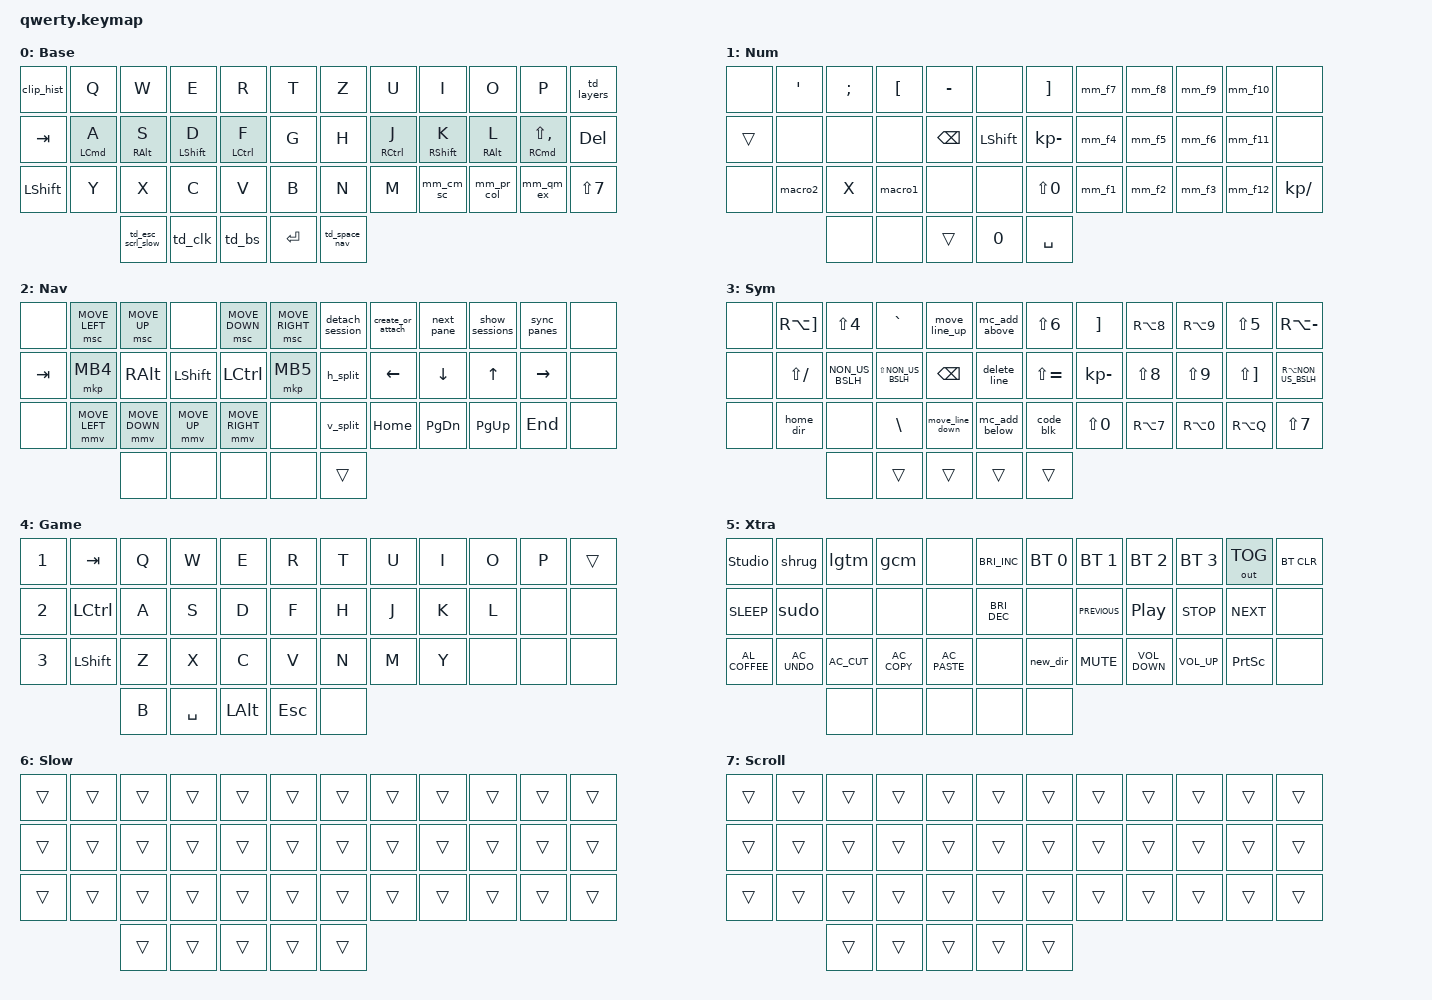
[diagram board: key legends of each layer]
#include "qwerty-includes.dtsi"

/ {
    behaviors {
        // ht_num_func: homerow_mod {
        //     compatible = "zmk,behavior-hold-tap";
        //     #binding-cells = <2>;
        //     flavor = "tap-preferred";
        //     tapping-term-ms = <260>; // triggers the hold behavior when the tapping-term-ms has expired
        //     quick-tap-ms = <220>; // If you press a tapped hold-tap again within quick-tap-ms milliseconds of the first press, it will always trigger the tap behavior.
        //     require-prior-idle-ms = <185>; // like quick-tap-ms however it will apply for any non-modifier key pressed before it
        //     bindings = <&kp>, <&kp>;  // hold, tap
        // };

        mm_f1: num_or_f1 {
            compatible    = "zmk,behavior-mod-morph";
            #binding-cells = <0>;
            bindings      = <&kp N1>, <&kp F1>;
            mods          = <MOD_LSFT>;
        };

        mm_f2: num_or_f2 {
            compatible    = "zmk,behavior-mod-morph";
            #binding-cells = <0>;
            bindings      = <&kp N2>, <&kp F2>;
            mods          = <MOD_LSFT>;
        };

        mm_f3: num_or_f3 {
            compatible    = "zmk,behavior-mod-morph";
            #binding-cells = <0>;
            bindings      = <&kp N3>, <&kp F3>;
            mods          = <MOD_LSFT>;
        };

        mm_f4: num_or_f4 {
            compatible    = "zmk,behavior-mod-morph";
            #binding-cells = <0>;
            bindings      = <&kp N4>, <&kp F4>;
            mods          = <MOD_LSFT>;
        };

        mm_f5: num_or_f5 {
            compatible    = "zmk,behavior-mod-morph";
            #binding-cells = <0>;
            bindings      = <&kp N5>, <&kp F5>;
            mods          = <MOD_LSFT>;
        };

        mm_f6: num_or_f6 {
            compatible    = "zmk,behavior-mod-morph";
            #binding-cells = <0>;
            bindings      = <&kp N6>, <&kp F6>;
            mods          = <MOD_LSFT>;
        };

        mm_f7: num_or_f7 {
            compatible    = "zmk,behavior-mod-morph";
            #binding-cells = <0>;
            bindings      = <&kp N7>, <&kp F7>;
            mods          = <MOD_LSFT>;
        };

        mm_f8: num_or_f8 {
            compatible    = "zmk,behavior-mod-morph";
            #binding-cells = <0>;
            bindings      = <&kp N8>, <&kp F8>;
            mods          = <MOD_LSFT>;
        };

        mm_f9: num_or_f9 {
            compatible    = "zmk,behavior-mod-morph";
            #binding-cells = <0>;
            bindings      = <&kp N9>, <&kp F9>;
            mods          = <MOD_LSFT>;
        };

        mm_f10: pct_or_f10 {
            compatible    = "zmk,behavior-mod-morph";
            #binding-cells = <0>;
            bindings      = <&kp LS(N5)>, <&kp F10>;
            mods          = <MOD_LSFT>;
        };

        mm_f11: asterisk_or_f11 {
            compatible    = "zmk,behavior-mod-morph";
            #binding-cells = <0>;
            bindings      = <&kp LS(RBKT)>, <&kp F11>;
            mods          = <MOD_LSFT>;
        };

        mm_f12: dot_or_f12 {
            compatible    = "zmk,behavior-mod-morph";
            #binding-cells = <0>;
            bindings      = <&kp DOT>, <&kp F12>;
            mods          = <MOD_LSFT>;
        };

        // Left-hand HRM
        ht_left: left_side_homerow_mod {
            compatible = "zmk,behavior-hold-tap";
            #binding-cells = <2>;
            flavor = "balanced";
            tapping-term-ms = <280>;
            quick-tap-ms = <160>;
            require-prior-idle-ms = <65>;
            retro-tap;
            bindings = <&kp>, <&kp>;
            hold-trigger-key-positions = <6 7 8 9 10 11 18 19 20 21 22 23 30 31 32 33 34 35 39 40 16 15 14 13 36 37 38 39 40>;
        };

        // Right-hand HRM
        ht_right: right_side_homerow_mod {
            compatible = "zmk,behavior-hold-tap";
            #binding-cells = <2>;
            flavor = "balanced";
            tapping-term-ms = <280>;
            quick-tap-ms = <160>;
            require-prior-idle-ms = <55>;
            retro-tap;
            bindings = <&kp>, <&kp>;
            hold-trigger-key-positions = <0 1 2 3 4 5 12 13 14 15 16 17 24 25 26 27 28 29 36 37 38 19 20 21 22 36 37 38 39 40>;
        };

        td_esc_scrl_slow: td_esc_scrl_slow {
            compatible = "zmk,behavior-tap-dance";
            #binding-cells = <0>;
            tapping-term-ms = <150>;
            bindings = <&lt 7 ESC>, <&mo 6>; // hold, tap, double_tap
        };

        lt_nav: nav_layer_tap {
            compatible = "zmk,behavior-hold-tap";
            #binding-cells = <2>;
            flavor = "tap-preferred";
            tapping-term-ms = <170>;
            bindings = <&mo>, <&kp>;
        };

        td_space_nav: td_space {
            compatible = "zmk,behavior-tap-dance";
            #binding-cells = <0>;
            tapping-term-ms = <110>;
            bindings = <&lt_nav 2 SPACE>, <&kp SPACE>; // hold, tap, double_tap
        };

        mo_clk: mo_click {
            compatible = "zmk,behavior-hold-tap";
            #binding-cells = <2>;
            flavor = "hold-preferred";
            tapping-term-ms = <40>;
            hold-while-undecided;
            bindings = <&mo>, <&mkp>;
        };

        td_clk: td_clk {
            compatible = "zmk,behavior-tap-dance";
            #binding-cells = <0>;
            tapping-term-ms = <170>;
            bindings = <&mo_clk 3 LCLK>, <&mkp LCLK>; // hold, tap, double_tap
        };

        mo_kp: mo_kp {
            compatible = "zmk,behavior-hold-tap";
            #binding-cells = <2>;
            flavor       = "hold-preferred";
            tapping-term-ms = <40>;
            hold-while-undecided;
            bindings = <&mo>, <&kp>;
        };

        td_bs: td_bs {
            compatible = "zmk,behavior-tap-dance";
            #binding-cells = <0>;
            tapping-term-ms = <170>;
            bindings = <&mo_kp 1 BACKSPACE>, <&kp BACKSPACE>; // hold, tap, double_tap
        };

        httl: ht_two_layers {
            compatible = "zmk,behavior-hold-tap";
            bindings = <&mo>, <&to>;
            #binding-cells = <2>;
            flavor = "balanced";
            tapping-term-ms = <125>;
        };

        td_layers: td_layer_swap {
            compatible = "zmk,behavior-tap-dance";
            #binding-cells = <0>;
            bindings = <&to 0>, <&to 4>; // tap, double_tap
        };

        td_clk_scrl: td_click_or_scroll {
            compatible = "zmk,behavior-tap-dance";
            #binding-cells = <0>;
            tapping-term-ms = <250>;
            bindings = <&mkp RCLK>, <&mo 8>;  // tap/hold, double_tap
        };

        td_bore: BASE_or_EXTRA {
            compatible = "zmk,behavior-tap-dance";
            #binding-cells = <0>;
            bindings = <&mo 5>, <&to 0>;
        };

        mm_qm_ex: question_exclamation {
            compatible    = "zmk,behavior-mod-morph";
            #binding-cells = <0>;
            bindings      = <&kp LS(MINUS)>, <&kp LS(N1)>;
            mods          = <(MOD_LSFT | MOD_RSFT)>;
        };

        mm_pr_col: period_colon {
            compatible    = "zmk,behavior-mod-morph";
            #binding-cells = <0>;
            bindings      = <&kp PERIOD>, <&kp LS(PERIOD)>;
            mods          = <(MOD_LSFT | MOD_RSFT)>;
        };

        mm_cm_sc: comma_semi_colon {
            compatible    = "zmk,behavior-mod-morph";
            #binding-cells = <0>;
            bindings      = <&kp COMMA>, <&kp LS(COMMA)>;
            mods          = <(MOD_LSFT | MOD_RSFT)>;
        };
    };

    macros {
        v_split: v_split {
            compatible = "zmk,behavior-macro";
            #binding-cells = <0>;
            bindings = <&macro_tap &kp LC(B) &kp LS(N5)>;
        };

        h_split: h_split {
            compatible = "zmk,behavior-macro";
            #binding-cells = <0>;
            bindings = <&macro_tap &kp LC(B) &kp LS(N2)>;
        };

        detach_session: detach_session {
            compatible = "zmk,behavior-macro";
            #binding-cells = <0>;
            bindings = <&kp LC(B) &kp D>;
        };

        sync_panes: sync_panes {
            compatible = "zmk,behavior-macro";
            #binding-cells = <0>;
            bindings = <&kp LC(B) &kp SPACE>;
        };

        next_pane: next_pane {
            compatible = "zmk,behavior-macro";
            #binding-cells = <0>;
            bindings = <&kp LC(B) &kp O>;
        };

        show_sessions: show_sessions {
            compatible = "zmk,behavior-macro";
            #binding-cells = <0>;
            bindings = <&kp LC(B) &kp S>;
        };

        create_or_attach: create_or_attach {
            compatible = "zmk,behavior-macro";
            #binding-cells = <0>;
            bindings
                = <&macro_tap &kp T>
                , <&macro_tap &kp M>
                , <&macro_tap &kp U>
                , <&macro_tap &kp X>
                , <&macro_tap &kp SPC>
                , <&macro_tap &kp N>
                , <&macro_tap &kp E>
                , <&macro_tap &kp W>
                , <&macro_tap &kp FSLH>
                , <&macro_tap &kp S>
                , <&macro_tap &kp E>
                , <&macro_tap &kp S>
                , <&macro_tap &kp S>
                , <&macro_tap &kp I>
                , <&macro_tap &kp O>
                , <&macro_tap &kp N>
                , <&macro_tap &kp SPC>
                , <&macro_tap &kp FSLH>
                , <&macro_tap &kp A>
                , <&macro_tap &kp SPC>
                , <&macro_tap &kp FSLH>
                , <&macro_tap &kp S>
                , <&macro_tap &kp SPC>
            ;
        };

        shrug: shrug { // shrug emoji ¯\_(ツ)_/¯
            compatible = "zmk,behavior-macro";
            #binding-cells = <0>;
            wait-ms = <10>;
            tap-ms = <20>;
            bindings
                // ¯ (Macros)
                = <&macro_press &kp LCTRL &kp LSHFT>
                , <&macro_tap &kp U>
                , <&macro_release &kp LCTRL &kp LSHFT>
                , <&macro_tap &kp N0 &kp N0 &kp A &kp F &kp SPC>
                // \
                , <&macro_tap &kp RA(MINUS)>
                , <&macro_tap &kp RA(MINUS)>
                // _
                , <&macro_tap &kp LS(FSLH)>
                // (
                , <&macro_tap &kp LPAR>
                // ツ (Katakana Letter Tu)
                , <&macro_press &kp LCTRL &kp LSHFT>
                , <&macro_tap &kp U>
                , <&macro_release &kp LCTRL &kp LSHFT>
                , <&macro_tap &kp N3 &kp N0 &kp C &kp N4 &kp SPC>
                // )
                , <&macro_tap &kp RPAR>
                // _
                , <&macro_tap &kp LS(FSLH)>
                // /
                , <&macro_tap &kp LS(N7)>
                // ¯ (Macron)
                , <&macro_press &kp LCTRL &kp LSHFT>
                , <&macro_tap &kp U>
                , <&macro_release &kp LCTRL &kp LSHFT>
                , <&macro_tap &kp N0 &kp N0 &kp A &kp F &kp SPC>
                ;
        };

        gcm: gcm { // git commit WIP
            compatible = "zmk,behavior-macro";
            #binding-cells = <0>;
            wait-ms = <10>;
            tap-ms = <20>;
            bindings = <
                &macro_tap &kp G &kp I &kp T &kp SPACE
                &kp C &kp O &kp M &kp M &kp I &kp T &kp SPACE
                &kp FSLH &kp A &kp M &kp SPACE
                &kp LS(N2) &kp LS(W) &kp LS(I) &kp LS(P) &kp LS(N2)
            >;
        };

        lgtm: lgtm { // LGTM Approval
            compatible = "zmk,behavior-macro";
            #binding-cells = <0>;
            wait-ms = <10>;
            tap-ms = <20>;
            bindings = <
                &macro_tap
                &kp LS(L) &kp LS(G) &kp LS(T) &kp LS(M)
                &kp SPACE &kp FSLH &kp SPACE
                &kp LS(A) &kp P &kp P &kp R &kp O &kp V &kp E &kp D &kp LS(N1)
            >;
        };

        sudo: sudo { // SUDO_BANG_BANG
            compatible = "zmk,behavior-macro";
            #binding-cells = <0>;
            wait-ms = <10>;
            tap-ms = <20>;
            bindings
                = <&macro_tap &kp S &kp U &kp D &kp O>  // "sudo"
                , <&macro_tap &kp SPACE>                // space
                , <&macro_tap &kp LS(N1) &kp LS(N1)>    // "!!"
                , <&macro_tap &kp RET>                  // Enter key
                ;
        };
        
        clip_hist: clip_hist { // CLIPBOARD_HISTORY
            compatible = "zmk,behavior-macro";
            #binding-cells = <0>;
            bindings 
                = <&macro_press &kp LGUI>
                , <&macro_tap &kp V>
                , <&macro_release &kp LGUI>
                ;
        };
        
        new_dir: new_dir {
            compatible = "zmk,behavior-macro";
            #binding-cells = <0>;
            bindings
                = <&macro_press &kp LCTRL &kp LSHFT>
                , <&macro_tap &kp N>
                , <&macro_release &kp LCTRL &kp LSHFT>
                ;
        };

        mc_add_above: multicursor_add_above {
            compatible = "zmk,behavior-macro";
            #binding-cells = <0>;
            bindings
                = <&macro_press &kp LCTRL &kp LALT>
                , <&macro_tap &kp UP>
                , <&macro_release &kp LCTRL &kp LALT>
                ;
        };

        mc_add_below: multicursor_add_below {
            compatible = "zmk,behavior-macro";
            #binding-cells = <0>;
            bindings
                = <&macro_press &kp LCTRL &kp LALT>
                , <&macro_tap &kp DOWN>
                , <&macro_release &kp LCTRL &kp LALT>
                ;
        };

        delete_line: delete_line {
            compatible = "zmk,behavior-macro";
            #binding-cells = <0>;
            bindings
                = <&macro_press &kp LCTRL &kp LSHFT>
                , <&macro_tap &kp K>
                , <&macro_release &kp LCTRL &kp LSHFT>
                ;
        };

        move_line_up: move_line_up {
            compatible = "zmk,behavior-macro";
            #binding-cells = <0>;
            bindings
                = <&macro_press &kp LALT>
                , <&macro_tap &kp UP>
                , <&macro_release &kp LALT>
                ;
        };

        move_line_down: move_line_down {
            compatible = "zmk,behavior-macro";
            #binding-cells = <0>;
            bindings
                = <&macro_press &kp LALT>
                , <&macro_tap &kp DOWN>
                , <&macro_release &kp LALT>
                ;
        };

        code_blk: code_blk {
            compatible = "zmk,behavior-macro";
            #binding-cells = <0>;
            bindings
                = <&macro_tap &kp LS(EQUAL)>
                , <&macro_tap &kp LS(EQUAL)>
                , <&macro_tap &kp LS(EQUAL)>
                ;
        };
        
        home_dir: home_dir {
            compatible = "zmk,behavior-macro";
            #binding-cells = <0>;
            bindings
                = <&macro_tap &kp RA(RBKT)>
                , <&macro_tap &kp LS(N7)>
                ;
        };

        macro1: macro1 {
            compatible = "zmk,behavior-macro";
            #binding-cells = <0>;

            // bisschen mehr Luft für Citrix
            // wait-ms = <10>;
            // tap-ms  = <10>;

            bindings
                // "$" = Shift + N4  (statt &kp DLLR)
                = <&macro_press &kp LSHFT>
                , <&macro_tap &kp N4>
                , <&macro_tap &kp T>      // T
                , <&macro_release &kp LSHFT>
                , <&macro_tap &kp A>
                , <&macro_tap &kp R>
                , <&macro_tap &kp T>
                , <&macro_tap &kp N1>
                , <&macro_tap &kp N9>
                , <&macro_tap &kp N7>
                , <&macro_tap &kp N6>
                , <&macro_press &kp LSHFT>
                , <&macro_tap &kp N1>
                , <&macro_release &kp LSHFT>
                ;
        };


        macro2: macro2 { // types ladZUFW\w80Wu:25:10
            compatible = "zmk,behavior-macro";
            #binding-cells = <0>;

            // etwas träger für Citrix
            // wait-ms = <40>;
            // tap-ms  = <40>;

            bindings
                // "$" = Shift + N4  (statt &kp DLLR)
                = <&macro_press &kp LSHFT>
                , <&macro_tap &kp N4>
                , <&macro_tap &kp T>      // T
                , <&macro_release &kp LSHFT>
                , <&macro_tap &kp A>
                , <&macro_tap &kp R>
                , <&macro_tap &kp T>
                , <&macro_tap &kp N1>
                , <&macro_tap &kp N9>
                , <&macro_tap &kp N7>
                , <&macro_tap &kp N6>
                , <&macro_press &kp LSHFT>
                , <&macro_tap &kp N1>
                , <&macro_release &kp LSHFT>                ;
        };


    };

    combos {
        compatible = "zmk,combos";

        CapsWord {
            bindings = <&caps_word>;
            key-positions = <17 18>;
            layers = <0>;
        };

        combo_BASE_or_EXTRAS {
            bindings = <&td_bore>;
            key-positions = <38 39>;
        };
        
        combo_left_click {
            bindings = <&mkp LCLK>;
            key-positions = <25 26>;
        };
        
        combo_middle_click {
            bindings = <&mkp MCLK>;
            key-positions = <26 27>;
        };

        combo_right_click {
            bindings = <&mkp RCLK>;
            key-positions = <27 28>;
        };

       combo_output_usb {
           timeout-ms = <80>;
           key-positions = <7 8 9>;
           bindings = <&out OUT_USB>;
           layers = <0>;
       };

       combo_output_ble {
           timeout-ms = <80>;
           key-positions = <8 9 10>;
           bindings = <&out OUT_BLE>;
           layers = <0>;
       };
    };

    keymap {
        compatible = "zmk,keymap";

        BASE {
            display-name = "Base";
            bindings = <
                &clip_hist      &kp Q            &kp W            &kp E             &kp R             &kp T     &kp Z  &kp U              &kp I              &kp O             &kp P                     &td_layers
                &kp TAB         &ht_left LCMD A  &ht_left RALT S  &ht_left LSHFT D  &ht_left LCTRL F  &kp G     &kp H  &ht_right RCTRL J  &ht_right RSHFT K  &ht_right RALT L  &ht_right RCMD LS(COMMA)  &kp DEL
                &kp LSHIFT      &kp Y            &kp X            &kp C             &kp V             &kp B     &kp N  &kp M              &mm_cm_sc          &mm_pr_col        &mm_qm_ex                 &kp LS(N7)
                                                     &td_esc_scrl_slow   &td_clk  &td_bs     &kp ENTER  &td_space_nav
            >;
        };

        NUM {
            display-name = "Num";
            bindings = <
                &none   &kp APOS  &kp SEMICOLON   &kp LBKT  &kp MINUS          &none            &kp RBKT     &mm_f7   &mm_f8   &mm_f9   &mm_f10  &none
                &trans  &none  &none   &none  &kp BACKSPACE  &kp LSHIFT       &kp KP_MINUS &mm_f4   &mm_f5   &mm_f6   &mm_f11  &none
                &none   &macro2 &kp X  &macro1 &none         &none            &kp LS(N0)   &mm_f1   &mm_f2   &mm_f3   &mm_f12  &kp KP_SLASH
                                   &none &none &trans &kp N0 &kp SPACE
            >;
        };

        NAV {
            display-name = "Nav";
            bindings = <
                &none    &msc MOVE_LEFT  &msc MOVE_UP    &none        &msc MOVE_DOWN  &msc MOVE_RIGHT     &detach_session  &create_or_attach  &next_pane   &show_sessions  &sync_panes       &none
                &kp TAB  &mkp MB4        &kp RALT        &kp LSHFT    &kp LCTRL       &mkp MB5            &h_split         &kp LEFT_ARROW     &kp DOWN     &kp UP          &kp RIGHT_ARROW   &none
                &none    &mmv MOVE_LEFT  &mmv MOVE_DOWN  &mmv MOVE_UP &mmv MOVE_RIGHT &none               &v_split         &kp HOME           &kp PG_DN    &kp PG_UP       &kp END           &none
                                                   &none &none &none &none &trans
            >;
        };

        SYM {
            display-name = "Sym";
            bindings = <
                &none &kp RA(RBKT) &kp LS(N4) &kp GRAVE &move_line_up      &mc_add_above   &kp LS(N6) &kp RBKT     &kp RA(N8) &kp RA(N9) &kp LS(N5) &kp RA(MINUS)
                &none &kp LS(FSLH) &kp NON_US_BSLH &kp LS(NON_US_BSLH) &kp BACKSPACE      &delete_line    &kp LS(EQUAL) &kp KP_MINUS &kp LS(N8) &kp LS(N9) &kp LS(RBKT) &kp RA(NON_US_BSLH)
                &none &home_dir &none    &kp BSLH  &move_line_down    &mc_add_below   &code_blk  &kp LS(N0)   &kp RA(N7) &kp RA(N0) &kp RA(Q)  &kp LS(N7)
                                   &none &trans &trans &trans &trans
            >;
        };

        GAME {
            display-name = "Game";
            bindings = <
                &kp N1 &kp TAB   &kp Q     &kp W   &kp E   &kp R   &kp T &kp U &kp I &kp O &kp P &trans
                &kp N2 &kp LCTRL &kp A     &kp S   &kp D   &kp F   &kp H &kp J &kp K &kp L &none &none
                &kp N3 &kp LSHFT &kp Z     &kp X   &kp C   &kp V   &kp N &kp M &kp Y &none &none &none
                                 &kp B    &kp SPACE &kp LEFT_ALT   &kp ESC &none
            >;
        };

        EXTRAS {
            display-name = "Xtra";
            bindings = <
                &studio_unlock &shrug &lgtm &gcm &none &kp C_BRIGHTNESS_INC &bt BT_SEL 0 &bt BT_SEL 1 &bt BT_SEL 2 &bt BT_SEL 3 &out OUT_TOG &bt BT_CLR
                &kp C_SLEEP    &sudo  &none &none &none &kp C_BRIGHTNESS_DEC &none       &kp C_PREVIOUS &kp C_PLAY_PAUSE &kp C_STOP &kp C_NEXT &none
                &kp C_AL_COFFEE &kp C_AC_UNDO &kp C_AC_CUT &kp C_AC_COPY &kp C_AC_PASTE &none &new_dir &kp K_MUTE &kp C_VOLUME_DOWN &kp C_VOLUME_UP &kp PRINTSCREEN &none
                                                   &none &none &none &none &none
            >;
        };

        SLOW {
            display-name = "Slow";
            bindings = <
                &trans &trans &trans &trans &trans &trans &trans &trans &trans &trans &trans &trans
                &trans &trans &trans &trans &trans &trans &trans &trans &trans &trans &trans &trans
                &trans &trans &trans &trans &trans &trans &trans &trans &trans &trans &trans &trans
                                 &trans &trans &trans &trans &trans
            >;
        };

        SCROLL {
            display-name = "Scroll";
            bindings = <
                &trans &trans &trans &trans &trans &trans &trans &trans &trans &trans &trans &trans
                &trans &trans &trans &trans &trans &trans &trans &trans &trans &trans &trans &trans
                &trans &trans &trans &trans &trans &trans &trans &trans &trans &trans &trans &trans
                                 &trans &trans &trans &trans &trans
            >;
        };
    };
};
